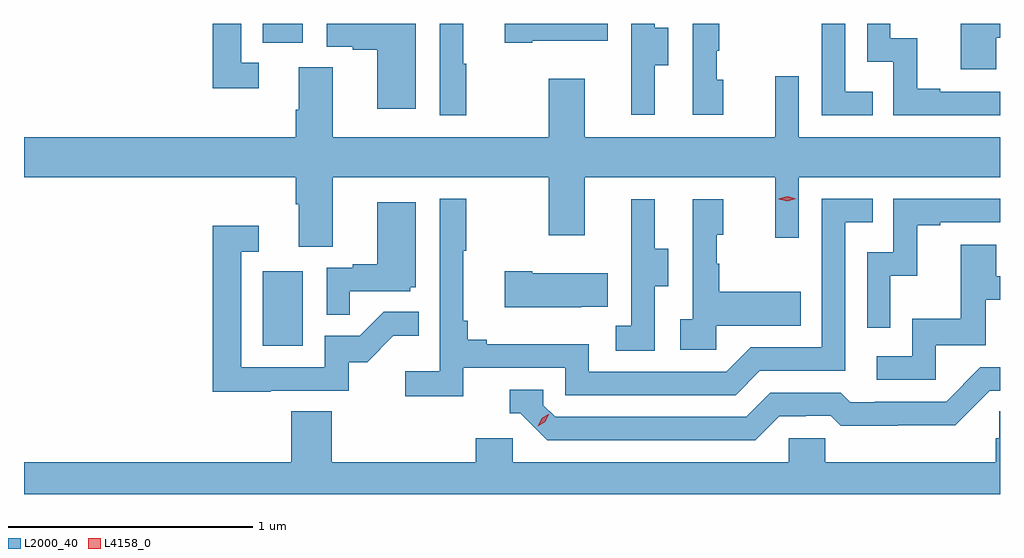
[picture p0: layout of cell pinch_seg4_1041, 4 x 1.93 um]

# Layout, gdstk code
import gdstk
lib = gdstk.Library(unit=1e-6, precision=1e-09)
def R(c, l, rs):  # rectangles x0, y0, x1, y1
    for r in rs: c.add(gdstk.rectangle(r[:2], r[2:], *l))
def P(c, l, *ps):  # polygons
    for p in ps: c.add(gdstk.Polygon(p, *l))
L2000_40 = (2000, 40)
L4158_0 = (4158, 0)

pinch_seg4_1041 = lib.new_cell('pinch_seg4_1041')
R(pinch_seg4_1041, L2000_40, [(875.498,749.508,875.662,749.815), (875.498,750.75,875.662,750.829)])
P(pinch_seg4_1041, L2000_40, [(877.997,750.549),(877.884,750.549),(877.884,750.829),(877.788,750.829),(877.788,750.453),(877.997,750.453)],
  [(876.331,750.665),(876.319,750.665),(876.319,750.829),(876.222,750.829),(876.222,750.453),(876.331,750.453)],
  [(876.601,750.758),(876.911,750.758),(876.911,750.829),(876.489,750.829),(876.489,750.751),(876.601,750.751)],
  [(875.482,750.669),(875.409,750.669),(875.409,750.829),(875.293,750.829),(875.293,750.564),(875.482,750.564)],
  [(876.124,750.829),(875.76,750.829),(875.76,750.735),(875.867,750.735),(875.867,750.723),(875.966,750.723),(875.966,750.48),(876.124,750.48)],
  [(877.384,750.6),(877.359,750.6),(877.359,750.719),(877.369,750.719),(877.369,750.829),(877.26,750.829),(877.26,750.456),(877.384,750.456)],
  [(877.105,750.658),(877.159,750.658),(877.159,750.813),(877.104,750.813),(877.104,750.829),(877.008,750.829),(877.008,750.669),(877.007,750.669),(877.007,750.456),(877.105,750.456)],
  [(878.519,750.549),(878.275,750.549),(878.275,750.562),(878.18,750.562),(878.18,750.77),(878.07,750.77),(878.07,750.829),(877.974,750.829),(877.974,750.672),(878.082,750.672),(878.082,750.453),(878.519,750.453)],
  [(878.503,750.771),(878.519,750.771),(878.519,750.829),(878.359,750.829),(878.359,750.642),(878.503,750.642)],
  [(875.785,750.2),(876.67,750.2),(876.67,749.961),(876.817,749.961),(876.817,750.2),(877.598,750.2),(877.598,749.952),(877.695,749.952),(877.695,750.2),(878.519,750.2),(878.519,750.364),(877.695,750.364),(877.695,750.613),(877.598,750.613),(877.598,750.364),(876.817,750.364),(876.817,750.604),(876.67,750.604),(876.67,750.364),(875.785,750.364),(875.785,750.65),(875.645,750.65),(875.645,750.476),(875.633,750.476),(875.633,750.364),(874.519,750.364),(874.519,750.2),(875.633,750.2),(875.633,750.088),(875.645,750.088),(875.645,749.914),(875.785,749.914)],
  [(876.32,749.418),(876.738,749.418),(876.738,749.307),(877.435,749.307),(877.534,749.406),(877.884,749.406),(877.884,750.015),(877.997,750.015),(877.997,750.111),(877.788,750.111),(877.788,749.502),(877.497,749.502),(877.398,749.403),(876.834,749.403),(876.834,749.515),(876.415,749.515),(876.415,749.534),(876.338,749.534),(876.338,749.611),(876.319,749.611),(876.319,749.899),(876.331,749.899),(876.331,750.112),(876.222,750.112),(876.222,749.404),(876.081,749.404),(876.081,749.302),(876.32,749.302)],
  [(878.07,749.795),(878.18,749.795),(878.18,750.003),(878.275,750.003),(878.275,750.015),(878.519,750.015),(878.519,750.111),(878.082,750.111),(878.082,749.892),(877.974,749.892),(877.974,749.583),(878.07,749.583)],
  [(877.104,749.752),(877.159,749.752),(877.159,749.907),(877.105,749.907),(877.105,750.109),(877.007,750.109),(877.007,749.895),(877.008,749.895),(877.008,749.591),(876.945,749.591),(876.945,749.488),(877.104,749.488)],
  [(877.356,749.591),(877.703,749.591),(877.703,749.731),(877.369,749.731),(877.369,749.846),(877.359,749.846),(877.359,749.964),(877.384,749.964),(877.384,750.109),(877.26,750.109),(877.26,749.618),(877.209,749.618),(877.209,749.493),(877.356,749.493)],
  [(875.855,749.733),(876.102,749.733),(876.102,749.748),(876.124,749.748),(876.124,750.097),(875.966,750.097),(875.966,749.842),(875.867,749.842),(875.867,749.829),(875.76,749.829),(875.76,749.635),(875.855,749.635)],
  [(875.531,749.325),(875.85,749.325),(875.85,749.442),(875.926,749.442),(876.033,749.549),(876.137,749.549),(876.137,749.648),(875.993,749.648),(875.895,749.55),(875.751,749.55),(875.751,749.421),(875.409,749.421),(875.409,749.895),(875.482,749.895),(875.482,750.001),(875.293,750.001),(875.293,749.32),(875.531,749.32)],
  [(878.256,749.511),(878.461,749.511),(878.461,749.697),(878.519,749.697),(878.519,749.793),(878.503,749.793),(878.503,749.923),(878.359,749.923),(878.359,749.62),(878.16,749.62),(878.16,749.466),(878.013,749.466),(878.013,749.37),(878.256,749.37)],
  [(876.803,749.669),(876.911,749.669),(876.911,749.806),(876.601,749.806),(876.601,749.814),(876.489,749.814),(876.489,749.666),(876.803,749.666)],
  [(877.615,749.22),(877.722,749.22),(877.722,749.223),(877.825,749.223),(877.867,749.181),(878.1,749.181),(878.1,749.183),(878.336,749.183),(878.478,749.325),(878.519,749.325),(878.519,749.421),(878.439,749.421),(878.298,749.28),(878.005,749.28),(878.005,749.277),(877.906,749.277),(877.867,749.316),(877.578,749.316),(877.479,749.217),(876.696,749.217),(876.648,749.265),(876.648,749.328),(876.509,749.328),(876.509,749.232),(876.552,749.232),(876.663,749.121),(877.516,749.121)],
  [(878.519,749.24),(878.515,749.24),(878.515,749.13),(878.501,749.13),(878.501,749.032),(877.803,749.032),(877.803,749.13),(877.653,749.13),(877.653,749.032),(876.522,749.032),(876.522,749.13),(876.371,749.13),(876.371,749.032),(875.78,749.032),(875.78,749.24),(875.615,749.24),(875.615,749.032),(874.519,749.032),(874.519,748.9),(878.519,748.9)])
P(pinch_seg4_1041, L4158_0, [(876.624,749.18),(876.624,749.18),(876.641,749.212),(876.672,749.23),(876.672,749.23),(876.672,749.23),(876.656,749.198),(876.625,749.18)],
  [(877.648,750.101),(877.613,750.11),(877.612,750.11),(877.613,750.111),(877.648,750.121),(877.683,750.112),(877.683,750.112),(877.683,750.112)])

lib.write_gds('pinch_seg4_1041.gds')
